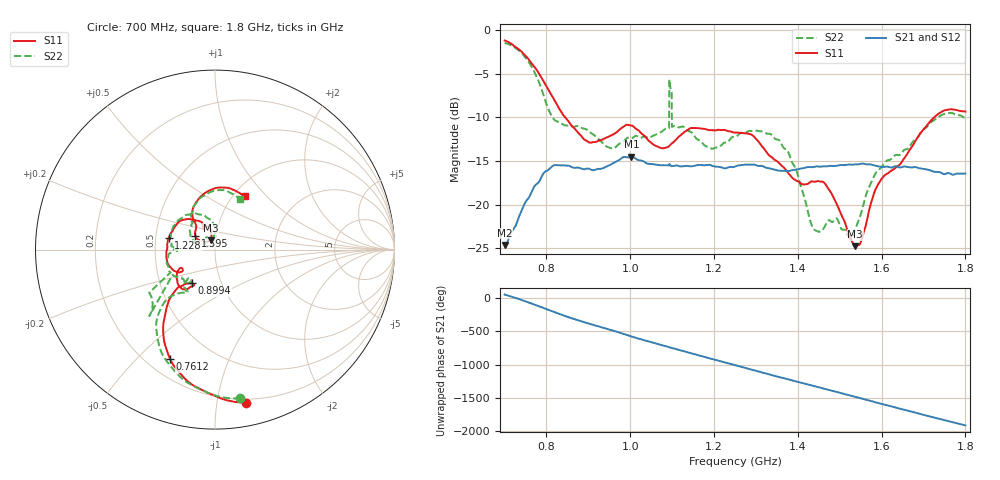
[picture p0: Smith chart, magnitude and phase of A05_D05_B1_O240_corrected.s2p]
! Created with skrf 1.9.0 (http://scikit-rf.org).
# Hz S RI R 50.0
!freq ReS11 ImS11 ReS21 ImS21 ReS12 ImS12 ReS22 ImS22
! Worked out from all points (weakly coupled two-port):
!   1601 points, 700 MHz to 1.8 GHz, reference 50 ohm
!   highest |S21| = -14.51 dB at 1.002 GHz (marker M1); lowest = -24.6 dB at 700 MHz (marker M2)
!   lowest |S11| = -24.8 dB at 1.537 GHz (marker M3), VSWR 1.12, Z = 47.3 + j4.95 ohm
!   |S11| at or under -10 dB: 844.4 MHz to 1.726 GHz (881.5 MHz wide, 68.6 % of centre)
!   |S22| runs from -23.9 to -1.5 dB; largest |S21 - S12| = 0.0036
!   S11 on the Smith chart (normalised r, x): 700 MHz: 0.17, -1.21; 761.2 MHz: 0.29, -0.63; 899.4 MHz: 0.72, -0.29; 1.228 GHz: 0.59, +0.08; 1.595 GHz: 0.79, +0.13; 1.8 GHz: 1.12, +0.76
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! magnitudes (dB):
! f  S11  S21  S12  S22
! 700 MHz  -1.2  -24.6  -24.4  -1.5
! 761.2 MHz  -3.6  -18.9  -18.8  -3.9
! 816.9 MHz  -7.9  -15.5  -15.6  -10.2
! 883.6 MHz  -12.2  -15.9  -15.8  -11.2
! 899.4 MHz  -12.8  -15.9  -15.9  -11.6
! 955.1 MHz  -12.1  -15.4  -15.4  -13.6
! 1.002 GHz  -10.9  -14.5  -14.6  -12.4
! 1.067 GHz  -13.4  -15.5  -15.4  -11.9
! 1.087 GHz  -13.5  -15.5  -15.5  -11.3
! 1.099 GHz  -13.0  -15.6  -15.6  -7.2
! 1.105 GHz  -12.8  -15.6  -15.5  -11.0
! 1.228 GHz  -11.5  -15.8  -15.8  -12.9
! 1.25 GHz  -11.8  -15.6  -15.6  -12.3
! 1.357 GHz  -15.3  -16.1  -16.1  -12.7
! 1.396 GHz  -17.2  -16.0  -16.0  -16.0
! 1.434 GHz  -17.3  -15.7  -15.7  -22.4
! 1.471 GHz  -18.1  -15.6  -15.6  -21.9
! 1.537 GHz  -24.8  -15.4  -15.4  -22.9
! 1.595 GHz  -17.4  -15.6  -15.6  -15.9
! 1.617 GHz  -16.3  -15.7  -15.7  -14.9
! 1.733 GHz  -9.7  -16.3  -16.3  -10.1
! 1.8 GHz  -9.4  -16.4  -16.4  -10.1
